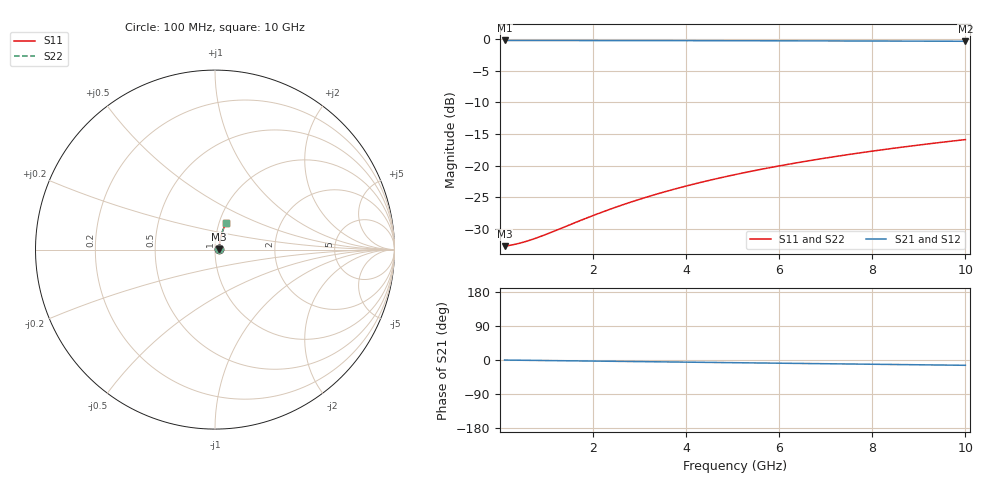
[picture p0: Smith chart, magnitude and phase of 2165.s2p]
# Hz S RI R 50.00
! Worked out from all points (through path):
!   100 points, 100 MHz to 10 GHz, reference 50 ohm
!   highest |S21| = -0.20 dB at 100 MHz (marker M1); lowest = -0.3 dB at 10 GHz (marker M2)
!   group delay of S21, straight-line fit = 3.89 ps
!   lowest |S11| = -32.7 dB at 100 MHz (marker M3), VSWR 1.05, Z = 52.4 + j0.164 ohm
!   |S11| at or under -10 dB: start of sweep to end of sweep
!   |S22| runs from -32.7 to -15.9 dB; largest |S21 - S12| = 1e-14
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1e8  0.023 0.00156  0.977 -0.00241  0.977 -0.00241  0.023 0.00156
3e8  0.0233 0.00469  0.9767 -0.00722  0.9767 -0.00722  0.0233 0.00469
4e8  0.0234 0.00625  0.9766 -0.00962  0.9766 -0.00962  0.0234 0.00625
5e8  0.0235 0.00781  0.9764 -0.012  0.9764 -0.012  0.0235 0.00781
7e8  0.0238 0.0109  0.9762 -0.0168  0.9762 -0.0168  0.0238 0.0109
1e9  0.0241 0.0156  0.9759 -0.024  0.9759 -0.024  0.0241 0.0156
1.8e9  0.0252 0.028  0.9746 -0.0432  0.9746 -0.0432  0.0252 0.028
2.2e9  0.026 0.0342  0.9738 -0.0528  0.9738 -0.0528  0.026 0.0342
2.6e9  0.0268 0.0404  0.9729 -0.0623  0.9729 -0.0623  0.0268 0.0404
3e9  0.0277 0.0466  0.9719 -0.0718  0.9719 -0.0718  0.0277 0.0466
3.4e9  0.0288 0.0527  0.9708 -0.0814  0.9708 -0.0814  0.0288 0.0527
3.8e9  0.03 0.0588  0.9695 -0.0908  0.9695 -0.0908  0.03 0.0588
4.2e9  0.0313 0.0649  0.9681 -0.1003  0.9681 -0.1003  0.0313 0.0649
4.6e9  0.0327 0.0709  0.9666 -0.1097  0.9666 -0.1097  0.0327 0.0709
5.1e9  0.0346 0.0784  0.9645 -0.1214  0.9645 -0.1214  0.0346 0.0784
5.5e9  0.0362 0.0844  0.9627 -0.1308  0.9627 -0.1308  0.0362 0.0844
5.9e9  0.038 0.0903  0.9607 -0.1401  0.9607 -0.1401  0.038 0.0903
6.7e9  0.0419 0.102  0.9565 -0.1585  0.9565 -0.1585  0.0419 0.102
7.5e9  0.0462 0.1135  0.9517 -0.1768  0.9517 -0.1768  0.0462 0.1135
8.4e9  0.0515 0.1262  0.9459 -0.1971  0.9459 -0.1971  0.0515 0.1262
9.2e9  0.0567 0.1373  0.9401 -0.215  0.9401 -0.215  0.0567 0.1373
1e10  0.0624 0.1481  0.934 -0.2325  0.934 -0.2325  0.0624 0.1481
